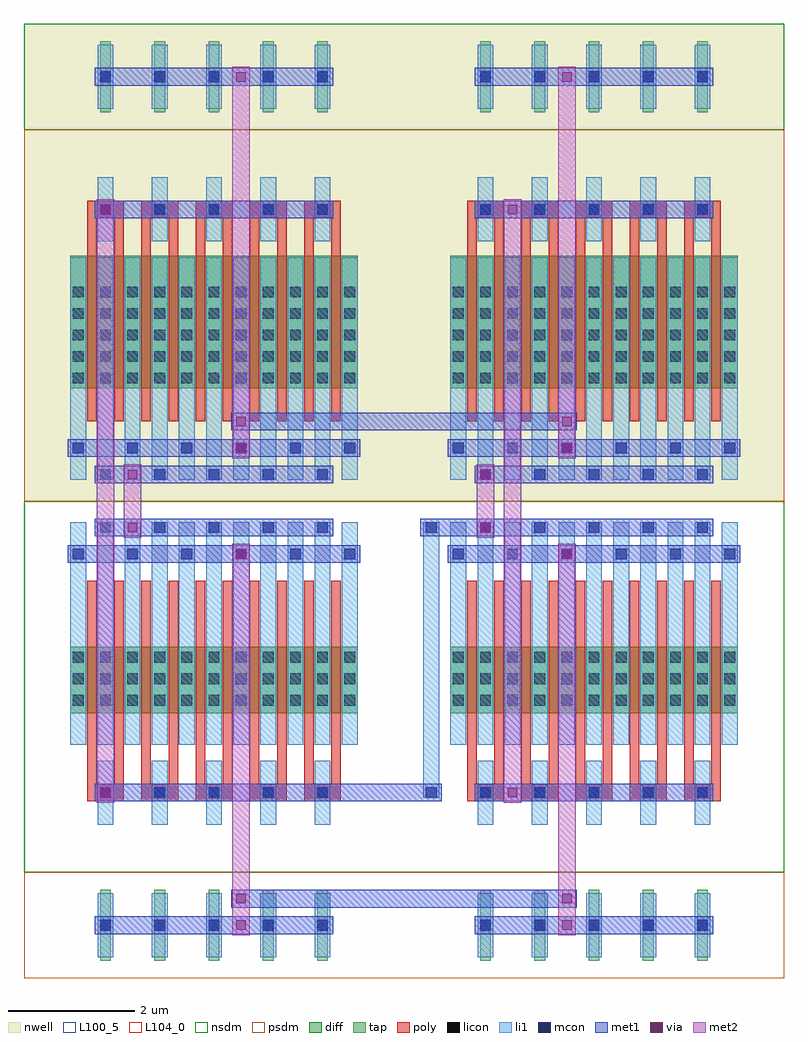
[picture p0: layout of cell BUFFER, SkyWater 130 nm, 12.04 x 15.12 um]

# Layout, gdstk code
import gdstk
lib = gdstk.Library(unit=1e-6, precision=1e-09)
def R(c, l, rs):  # rectangles x0, y0, x1, y1
    for r in rs: c.add(gdstk.rectangle(r[:2], r[2:], *l))
def A(c, l, x, y, w, h, nx, ny, dx, dy):  # array of equal rectangles
    R(c, l, [(x+i*dx, y+j*dy, x+i*dx+w, y+j*dy+h) for i in range(nx) for j in range(ny)])
nwell = (64, 20)
diff = (65, 20)
tap = (65, 44)
poly = (66, 20)
licon = (66, 44)
li1 = (67, 20)
mcon = (67, 44)
met1 = (68, 20)
via = (68, 44)
met2 = (69, 20)
nsdm = (93, 44)
psdm = (94, 20)
L100_5 = (100, 5)
L104_0 = (104, 0)

buffer = lib.new_cell('BUFFER')
R(buffer, nwell, [(0,7.56,6.02,15.12), (6.02,7.56,12.04,15.12)])
R(buffer, diff, [(0.735,4.2,5.285,5.25), (6.755,4.2,11.305,5.25), (0.735,9.345,5.285,11.445), (6.755,9.345,11.305,11.445)])
A(buffer, tap, 1.205, 0.28, 0.17, 1.12, 5, 2, 0.86, 13.44)
A(buffer, tap, 7.225, 0.28, 0.17, 1.12, 5, 2, 0.86, 13.44)
A(buffer, poly, 1, 2.805, 0.58, 0.27, 5, 2, 0.86, 9.24)
A(buffer, poly, 7.02, 2.805, 0.58, 0.27, 5, 2, 0.86, 9.24)
A(buffer, poly, 1, 2.94, 0.15, 3.36, 10, 2, 0.43, 5.88)
A(buffer, poly, 7.02, 2.94, 0.15, 3.36, 10, 2, 0.43, 5.88)
A(buffer, licon, 1.205, 0.755, 0.17, 0.17, 5, 2, 0.86, 2.1)
A(buffer, licon, 7.225, 0.755, 0.17, 0.17, 5, 2, 0.86, 2.1)
A(buffer, licon, 0.775, 4.32, 0.17, 0.17, 3, 3, 0.43, 0.34)
A(buffer, licon, 1.635, 4.32, 0.17, 0.17, 3, 3, 0.43, 0.34)
A(buffer, licon, 2.495, 4.32, 0.17, 0.17, 3, 3, 0.43, 0.34)
A(buffer, licon, 3.355, 4.32, 0.17, 0.17, 3, 3, 0.43, 0.34)
A(buffer, licon, 4.215, 4.32, 0.17, 0.17, 3, 3, 0.43, 0.34)
A(buffer, licon, 6.795, 4.32, 0.17, 0.17, 3, 3, 0.43, 0.34)
A(buffer, licon, 7.655, 4.32, 0.17, 0.17, 3, 3, 0.43, 0.34)
A(buffer, licon, 8.515, 4.32, 0.17, 0.17, 3, 3, 0.43, 0.34)
A(buffer, licon, 9.375, 4.32, 0.17, 0.17, 3, 3, 0.43, 0.34)
A(buffer, licon, 10.235, 4.32, 0.17, 0.17, 3, 3, 0.43, 0.34)
A(buffer, licon, 0.775, 9.425, 0.17, 0.17, 3, 5, 0.43, 0.34)
A(buffer, licon, 1.635, 9.425, 0.17, 0.17, 3, 5, 0.43, 0.34)
A(buffer, licon, 2.495, 9.425, 0.17, 0.17, 3, 5, 0.43, 0.34)
A(buffer, licon, 3.355, 9.425, 0.17, 0.17, 3, 5, 0.43, 0.34)
A(buffer, licon, 4.215, 9.425, 0.17, 0.17, 3, 5, 0.43, 0.34)
A(buffer, licon, 6.795, 9.425, 0.17, 0.17, 3, 5, 0.43, 0.34)
A(buffer, licon, 7.655, 9.425, 0.17, 0.17, 3, 5, 0.43, 0.34)
A(buffer, licon, 8.515, 9.425, 0.17, 0.17, 3, 5, 0.43, 0.34)
A(buffer, licon, 9.375, 9.425, 0.17, 0.17, 3, 5, 0.43, 0.34)
A(buffer, licon, 10.235, 9.425, 0.17, 0.17, 3, 5, 0.43, 0.34)
A(buffer, licon, 1.205, 12.095, 0.17, 0.17, 5, 2, 0.86, 2.1)
A(buffer, licon, 7.225, 12.095, 0.17, 0.17, 5, 2, 0.86, 2.1)
A(buffer, li1, 1.165, 0.335, 0.25, 1.01, 5, 2, 0.86, 2.1)
A(buffer, li1, 7.185, 0.335, 0.25, 1.01, 5, 2, 0.86, 2.1)
A(buffer, li1, 0.735, 3.695, 0.25, 3.53, 11, 2, 0.43, 4.2)
A(buffer, li1, 6.755, 3.695, 0.25, 3.53, 11, 2, 0.43, 4.2)
A(buffer, li1, 1.165, 11.675, 0.25, 1.01, 5, 2, 0.86, 2.1)
A(buffer, li1, 7.185, 11.675, 0.25, 1.01, 5, 2, 0.86, 2.1)
R(buffer, li1, [(6.325,2.855,6.575,7.225)])
A(buffer, mcon, 1.205, 0.755, 0.17, 0.17, 5, 2, 0.86, 2.1)
A(buffer, mcon, 7.225, 0.755, 0.17, 0.17, 5, 2, 0.86, 7.14)
A(buffer, mcon, 6.365, 2.855, 0.17, 0.17, 6, 2, 0.86, 4.2)
A(buffer, mcon, 0.775, 6.635, 0.17, 0.17, 6, 2, 0.86, 1.68)
A(buffer, mcon, 6.795, 6.635, 0.17, 0.17, 6, 2, 0.86, 1.68)
A(buffer, mcon, 1.205, 7.055, 0.17, 0.17, 5, 2, 0.86, 0.84)
A(buffer, mcon, 1.205, 12.095, 0.17, 0.17, 5, 2, 0.86, 2.1)
A(buffer, mcon, 7.225, 12.095, 0.17, 0.17, 5, 2, 0.86, 2.1)
R(buffer, met1, [(1.12,0.7,4.9,0.98), (7.14,0.7,10.92,0.98), (3.28,1.12,8.76,1.4), (1.12,2.8,6.62,3.08), (7.14,2.8,10.92,3.08), (0.69,6.58,5.33,6.86), (6.71,6.58,11.35,6.86), (1.12,7,4.9,7.28), (6.28,7,10.92,7.28), (1.12,7.84,4.9,8.12), (7.14,7.84,10.92,8.12), (0.69,8.26,5.33,8.54), (6.71,8.26,11.35,8.54), (3.28,8.68,8.76,8.96), (1.12,12.04,4.9,12.32), (7.14,12.04,10.92,12.32), (1.12,14.14,4.9,14.42), (7.14,14.14,10.92,14.42)])
R(buffer, via, [(3.365,0.765,3.515,0.915), (8.525,0.765,8.675,0.915), (3.365,1.185,3.515,1.335), (8.525,1.185,8.675,1.335), (1.215,2.865,1.365,3.015), (7.665,2.865,7.815,3.015), (3.365,6.645,3.515,6.795), (8.525,6.645,8.675,6.795), (1.645,7.065,1.795,7.215), (7.235,7.065,7.385,7.215), (1.645,7.905,1.795,8.055), (7.235,7.905,7.385,8.055), (3.365,8.325,3.515,8.475), (8.525,8.325,8.675,8.475), (3.365,8.745,3.515,8.895), (8.525,8.745,8.675,8.895), (1.215,12.105,1.365,12.255), (7.665,12.105,7.815,12.255), (3.365,14.205,3.515,14.355), (8.525,14.205,8.675,14.355)])
R(buffer, met2, [(3.3,0.68,3.58,6.88), (8.46,0.68,8.74,6.88), (1.15,2.78,1.43,12.34), (7.6,2.78,7.88,12.34), (1.58,6.98,1.86,8.14), (7.17,6.98,7.45,8.14), (3.3,8.24,3.58,14.44), (8.46,8.24,8.74,14.44)])
R(buffer, nsdm, [(0,1.68,6.02,7.56), (6.02,1.68,12.04,7.56), (0,13.44,6.02,15.12), (6.02,13.44,12.04,15.12)])
R(buffer, psdm, [(0,0,6.02,1.68), (6.02,0,12.04,1.68), (0,7.56,6.02,13.44), (6.02,7.56,12.04,13.44)])
R(buffer, L100_5, [(0,0,12.04,15.12)])
R(buffer, L104_0, [(0,0,12.04,15.12)])

lib.write_gds('BUFFER.gds')
